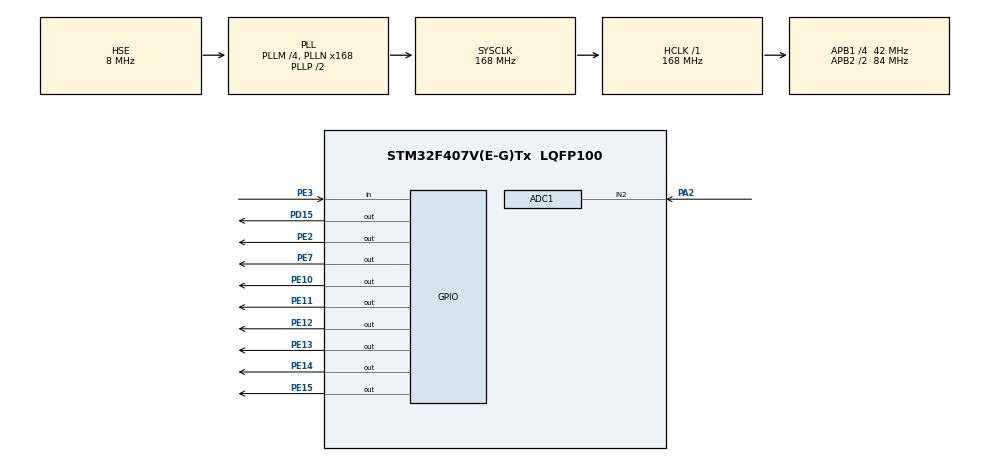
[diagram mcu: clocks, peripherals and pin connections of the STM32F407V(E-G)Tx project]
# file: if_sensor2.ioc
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ADC1.Channel-3\#ChannelRegularConversion=ADC_CHANNEL_2
ADC1.NbrOfConversionFlag=1
ADC1.Rank-3\#ChannelRegularConversion=1
ADC1.SamplingTime-3\#ChannelRegularConversion=ADC_SAMPLETIME_3CYCLES
ADC1.master=1
Mcu.Family=STM32F4
Mcu.Name=STM32F407V(E-G)Tx
Mcu.Package=LQFP100
NVIC.PriorityGroup=NVIC_PRIORITYGROUP_4
PA2.Signal=ADCx_IN2
PD15.Signal=GPIO_Output
PE10.GPIO_Speed=GPIO_SPEED_FREQ_MEDIUM
PE10.Signal=GPIO_Output
PE11.GPIO_Speed=GPIO_SPEED_FREQ_MEDIUM
PE11.Signal=GPIO_Output
PE12.GPIO_Speed=GPIO_SPEED_FREQ_MEDIUM
PE12.Signal=GPIO_Output
PE13.GPIO_Speed=GPIO_SPEED_FREQ_MEDIUM
PE13.Signal=GPIO_Output
PE14.GPIO_Speed=GPIO_SPEED_FREQ_MEDIUM
PE14.Signal=GPIO_Output
PE15.Signal=GPIO_Output
PE2.Signal=GPIO_Output
PE3.Signal=GPIO_Input
PE7.GPIO_Speed=GPIO_SPEED_FREQ_MEDIUM
PE7.Signal=GPIO_Output
PH0-OSC_IN.Mode=HSE-External-Oscillator
PH0-OSC_IN.Signal=RCC_OSC_IN
PH1-OSC_OUT.Mode=HSE-External-Oscillator
PH1-OSC_OUT.Signal=RCC_OSC_OUT
ProjectManager.HeapSize=0x200
ProjectManager.StackSize=0x400
ProjectManager.TargetToolchain=STM32CubeIDE
RCC.48MHZClocksFreq_Value=84000000
RCC.AHBFreq_Value=168000000
RCC.APB1CLKDivider=RCC_HCLK_DIV4
RCC.APB1Freq_Value=42000000
RCC.APB1TimFreq_Value=84000000
RCC.APB2CLKDivider=RCC_HCLK_DIV2
RCC.APB2Freq_Value=84000000
RCC.APB2TimFreq_Value=168000000
RCC.CortexFreq_Value=168000000
RCC.HCLKFreq_Value=168000000
RCC.HSE_VALUE=8000000
RCC.HSI_VALUE=16000000
RCC.LSE_VALUE=32768
RCC.PLLM=4
RCC.PLLN=168
RCC.PLLSourceVirtual=RCC_PLLSOURCE_HSE
RCC.SYSCLKFreq_VALUE=168000000
RCC.SYSCLKSource=RCC_SYSCLKSOURCE_PLLCLK
RCC.VCOOutputFreq_Value=336000000
SH.ADCx_IN2.0=ADC1_IN2,IN2
TIM6.AutoReloadPreload=TIM_AUTORELOAD_PRELOAD_ENABLE
TIM6.Prescaler=83
VP_TIM6_VS_ClockSourceINT.Mode=Enable_Timer
board=custom

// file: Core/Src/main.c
/* USER CODE BEGIN Header */
/**
  ******************************************************************************
  * @file           : main.c
  * @brief          : Main program body
  ******************************************************************************
  * @attention
  *
  * <h2><center>&copy; Copyright (c) 2021 STMicroelectronics.
  * All rights reserved.</center></h2>
  *
  * This software component is licensed by ST under BSD 3-Clause license,
  * the "License"; You may not use this file except in compliance with the
  * License. You may obtain a copy of the License at:
  *                        opensource.org/licenses/BSD-3-Clause
  *
  ******************************************************************************
  */
/* USER CODE END Header */
#include "main.h"

/* USER CODE BEGIN Includes */
#include "ir_sensor.h"
#include "acoustic_sensor.h"
#include "lcd.h"
#include "delay.h"
#include <string.h>
#include <stm32f4xx_hal.h>
/* USER CODE END Includes */

ADC_HandleTypeDef hadc1;

TIM_HandleTypeDef htim6;

void SystemClock_Config(void);
static void MX_GPIO_Init(void);
static void MX_ADC1_Init(void);
static void MX_TIM6_Init(void);

int main(void)
{

  /* MCU Configuration--------------------------------------------------------*/

  /* Reset of all peripherals, Initializes the Flash interface and the Systick. */
  HAL_Init();

  /* Configure the system clock */
  SystemClock_Config();

  /* Initialize all configured peripherals */
  MX_GPIO_Init();
  MX_ADC1_Init();
  MX_TIM6_Init();
  /* USER CODE BEGIN 2 */
  ir_sensor_t obj_ir_sensor;
  acoustic_sensor_t obj_ac_sensor;
  delay_init(&htim6);
  initLCD();
  ir_sensor_init(&obj_ir_sensor, &hadc1);
  //acoustic_sensor_init(&obj_ac_sensor, GPIOE, GPIO_PIN_2, GPIOE, GPIO_PIN_3);
  /* USER CODE END 2 */

  /* Infinite loop */
  /* USER CODE BEGIN WHILE */
  while (1)
  {
	  clear();
	  char cPL_str[16];
	  uint16_t u16L_dist = ir_sensor_read(&obj_ir_sensor);
	  sprintf(cPL_str, "%d", u16L_dist);
	  setCursor(0, 0);
	  lcdString(cPL_str);
	  //u16L_dist = acoustic_sensor_read(&obj_ac_sensor);
	  setCursor(0, 1);
	  memset(cPL_str, 0, 16);
	  sprintf(cPL_str, "%d", u16L_dist);
	  lcdString(cPL_str);
	  HAL_Delay(1000);
	  HAL_GPIO_TogglePin(GPIOD, GPIO_PIN_15);
    /* USER CODE END WHILE */

  }
}

void SystemClock_Config(void)
{
  RCC_OscInitTypeDef RCC_OscInitStruct = {0};
  RCC_ClkInitTypeDef RCC_ClkInitStruct = {0};

  /** Configure the main internal regulator output voltage
  */
  __HAL_RCC_PWR_CLK_ENABLE();
  __HAL_PWR_VOLTAGESCALING_CONFIG(PWR_REGULATOR_VOLTAGE_SCALE1);
  /** Initializes the RCC Oscillators according to the specified parameters
  * in the RCC_OscInitTypeDef structure.
  */
  RCC_OscInitStruct.OscillatorType = RCC_OSCILLATORTYPE_HSE;
  RCC_OscInitStruct.HSEState = RCC_HSE_ON;
  RCC_OscInitStruct.PLL.PLLState = RCC_PLL_ON;
  RCC_OscInitStruct.PLL.PLLSource = RCC_PLLSOURCE_HSE;
  RCC_OscInitStruct.PLL.PLLM = 4;
  RCC_OscInitStruct.PLL.PLLN = 168;
  RCC_OscInitStruct.PLL.PLLP = RCC_PLLP_DIV2;
  RCC_OscInitStruct.PLL.PLLQ = 4;
  if (HAL_RCC_OscConfig(&RCC_OscInitStruct) != HAL_OK)
  {
    Error_Handler();
  }
  /** Initializes the CPU, AHB and APB buses clocks
  */
  RCC_ClkInitStruct.ClockType = RCC_CLOCKTYPE_HCLK|RCC_CLOCKTYPE_SYSCLK
                              |RCC_CLOCKTYPE_PCLK1|RCC_CLOCKTYPE_PCLK2;
  RCC_ClkInitStruct.SYSCLKSource = RCC_SYSCLKSOURCE_PLLCLK;
  RCC_ClkInitStruct.AHBCLKDivider = RCC_SYSCLK_DIV1;
  RCC_ClkInitStruct.APB1CLKDivider = RCC_HCLK_DIV4;
  RCC_ClkInitStruct.APB2CLKDivider = RCC_HCLK_DIV2;

  if (HAL_RCC_ClockConfig(&RCC_ClkInitStruct, FLASH_LATENCY_5) != HAL_OK)
  {
    Error_Handler();
  }
}

static void MX_ADC1_Init(void)
{

  ADC_ChannelConfTypeDef sConfig = {0};

  /** Configure the global features of the ADC (Clock, Resolution, Data Alignment and number of conversion)
  */
  hadc1.Instance = ADC1;
  hadc1.Init.ClockPrescaler = ADC_CLOCK_SYNC_PCLK_DIV4;
  hadc1.Init.Resolution = ADC_RESOLUTION_12B;
  hadc1.Init.ScanConvMode = DISABLE;
  hadc1.Init.ContinuousConvMode = DISABLE;
  hadc1.Init.DiscontinuousConvMode = DISABLE;
  hadc1.Init.ExternalTrigConvEdge = ADC_EXTERNALTRIGCONVEDGE_NONE;
  hadc1.Init.ExternalTrigConv = ADC_SOFTWARE_START;
  hadc1.Init.DataAlign = ADC_DATAALIGN_RIGHT;
  hadc1.Init.NbrOfConversion = 1;
  hadc1.Init.DMAContinuousRequests = DISABLE;
  hadc1.Init.EOCSelection = ADC_EOC_SINGLE_CONV;
  if (HAL_ADC_Init(&hadc1) != HAL_OK)
  {
    Error_Handler();
  }
  /** Configure for the selected ADC regular channel its corresponding rank in the sequencer and its sample time.
  */
  sConfig.Channel = ADC_CHANNEL_2;
  sConfig.Rank = 1;
  sConfig.SamplingTime = ADC_SAMPLETIME_3CYCLES;
  if (HAL_ADC_ConfigChannel(&hadc1, &sConfig) != HAL_OK)
  {
    Error_Handler();
  }

}

static void MX_TIM6_Init(void)
{

  TIM_MasterConfigTypeDef sMasterConfig = {0};

  htim6.Instance = TIM6;
  htim6.Init.Prescaler = 83;
  htim6.Init.CounterMode = TIM_COUNTERMODE_UP;
  htim6.Init.Period = 65535;
  htim6.Init.AutoReloadPreload = TIM_AUTORELOAD_PRELOAD_ENABLE;
  if (HAL_TIM_Base_Init(&htim6) != HAL_OK)
  {
    Error_Handler();
  }
  sMasterConfig.MasterOutputTrigger = TIM_TRGO_RESET;
  sMasterConfig.MasterSlaveMode = TIM_MASTERSLAVEMODE_DISABLE;
  if (HAL_TIMEx_MasterConfigSynchronization(&htim6, &sMasterConfig) != HAL_OK)
  {
    Error_Handler();
  }

}

static void MX_GPIO_Init(void)
{
  GPIO_InitTypeDef GPIO_InitStruct = {0};

  /* GPIO Ports Clock Enable */
  __HAL_RCC_GPIOE_CLK_ENABLE();
  __HAL_RCC_GPIOH_CLK_ENABLE();
  __HAL_RCC_GPIOA_CLK_ENABLE();
  __HAL_RCC_GPIOD_CLK_ENABLE();

  /*Configure GPIO pin Output Level */
  HAL_GPIO_WritePin(GPIOE, GPIO_PIN_2|GPIO_PIN_7|GPIO_PIN_10|GPIO_PIN_11
                          |GPIO_PIN_12|GPIO_PIN_13|GPIO_PIN_14|GPIO_PIN_15, GPIO_PIN_RESET);

  /*Configure GPIO pin Output Level */
  HAL_GPIO_WritePin(GPIOD, GPIO_PIN_15, GPIO_PIN_RESET);

  /*Configure GPIO pins : PE2 PE15 */
  GPIO_InitStruct.Pin = GPIO_PIN_2|GPIO_PIN_15;
  GPIO_InitStruct.Mode = GPIO_MODE_OUTPUT_PP;
  GPIO_InitStruct.Pull = GPIO_NOPULL;
  GPIO_InitStruct.Speed = GPIO_SPEED_FREQ_LOW;
  HAL_GPIO_Init(GPIOE, &GPIO_InitStruct);

  /*Configure GPIO pin : PE3 */
  GPIO_InitStruct.Pin = GPIO_PIN_3;
  GPIO_InitStruct.Mode = GPIO_MODE_INPUT;
  GPIO_InitStruct.Pull = GPIO_NOPULL;
  HAL_GPIO_Init(GPIOE, &GPIO_InitStruct);

  /*Configure GPIO pins : PE7 PE10 PE11 PE12
                           PE13 PE14 */
  GPIO_InitStruct.Pin = GPIO_PIN_7|GPIO_PIN_10|GPIO_PIN_11|GPIO_PIN_12
                          |GPIO_PIN_13|GPIO_PIN_14;
  GPIO_InitStruct.Mode = GPIO_MODE_OUTPUT_PP;
  GPIO_InitStruct.Pull = GPIO_NOPULL;
  GPIO_InitStruct.Speed = GPIO_SPEED_FREQ_MEDIUM;
  HAL_GPIO_Init(GPIOE, &GPIO_InitStruct);

  /*Configure GPIO pin : PD15 */
  GPIO_InitStruct.Pin = GPIO_PIN_15;
  GPIO_InitStruct.Mode = GPIO_MODE_OUTPUT_PP;
  GPIO_InitStruct.Pull = GPIO_NOPULL;
  GPIO_InitStruct.Speed = GPIO_SPEED_FREQ_LOW;
  HAL_GPIO_Init(GPIOD, &GPIO_InitStruct);

}

void Error_Handler(void)
{
  __disable_irq();
  while (1)
  {
  }
}

/************************ (C) COPYRIGHT STMicroelectronics *****END OF FILE****/
